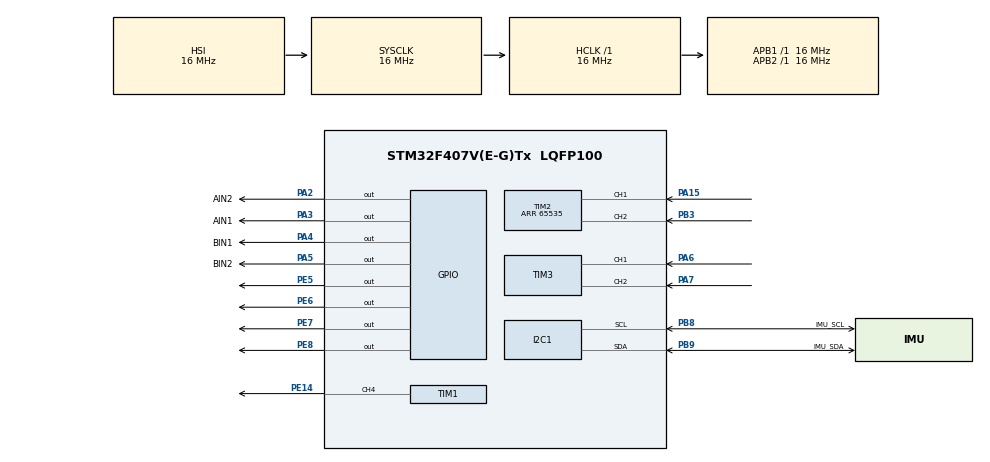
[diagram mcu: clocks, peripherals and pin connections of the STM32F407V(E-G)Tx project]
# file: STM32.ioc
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FREERTOS.Tasks01=defaultTask,24,128,StartDefaultTask,Default,NULL,Dynamic,NULL,NULL;MotorsDrive,40,2048,motorsMain,Default,NULL,Dynamic,NULL,NULL;IMU,40,512,IMUMain,Default,NULL,Dynamic,NULL,NULL;MotorEncoder,40,128,MotorEncoderMain,Default,NULL,Dynamic,NULL,NULL;Servo,24,256,ServoMain,Default,NULL,Dynamic,NULL,NULL
Mcu.Family=STM32F4
Mcu.Name=STM32F407V(E-G)Tx
Mcu.Package=LQFP100
NVIC.PriorityGroup=NVIC_PRIORITYGROUP_4
NVIC.TIM2_IRQn=true\:5\:0\:false\:false\:true\:true\:true\:true\:true
NVIC.TIM3_IRQn=true\:5\:0\:false\:false\:true\:true\:true\:true\:true
PA15.Signal=S_TIM2_CH1_ETR
PA2.GPIO_Label=AIN2
PA2.GPIO_Speed=GPIO_SPEED_FREQ_HIGH
PA2.Signal=GPIO_Output
PA3.GPIO_Label=AIN1
PA3.GPIO_Speed=GPIO_SPEED_FREQ_HIGH
PA3.Signal=GPIO_Output
PA4.GPIO_Label=BIN1
PA4.GPIO_Speed=GPIO_SPEED_FREQ_HIGH
PA4.Signal=GPIO_Output
PA5.GPIO_Label=BIN2
PA5.GPIO_Speed=GPIO_SPEED_FREQ_HIGH
PA5.Signal=GPIO_Output
PA6.Signal=S_TIM3_CH1
PA7.Signal=S_TIM3_CH2
PB3.Signal=S_TIM2_CH2
PB8.GPIO_Label=IMU_SCL
PB8.Mode=I2C
PB8.Signal=I2C1_SCL
PB9.GPIO_Label=IMU_SDA
PB9.Mode=I2C
PB9.Signal=I2C1_SDA
PC6.GPIO_Label=PWMA
PC6.Signal=S_TIM8_CH1
PC7.GPIO_Label=PWMB
PC7.Signal=S_TIM8_CH2
PE14.Signal=S_TIM1_CH4
PE5.Signal=GPIO_Output
PE6.Signal=GPIO_Output
PE7.Signal=GPIO_Output
PE8.Signal=GPIO_Output
ProjectManager.HeapSize=0x200
ProjectManager.StackSize=0x400
ProjectManager.TargetToolchain=STM32CubeIDE
RCC.AHBFreq_Value=16000000
RCC.APB1Freq_Value=16000000
RCC.APB2Freq_Value=16000000
RCC.CortexFreq_Value=16000000
RCC.HSE_VALUE=25000000
RCC.HSI_VALUE=16000000
RCC.LSE_VALUE=32768
RCC.SYSCLKFreq_VALUE=16000000
RCC.VCOOutputFreq_Value=192000000
SH.S_TIM1_CH4.0=TIM1_CH4,PWM Generation4 CH4
SH.S_TIM2_CH1_ETR.0=TIM2_CH1,Encoder_Interface
SH.S_TIM2_CH2.0=TIM2_CH2,Encoder_Interface
SH.S_TIM3_CH1.0=TIM3_CH1,Encoder_Interface
SH.S_TIM3_CH2.0=TIM3_CH2,Encoder_Interface
SH.S_TIM8_CH1.0=TIM8_CH1
SH.S_TIM8_CH2.0=TIM8_CH2
TIM1.AutoReloadPreload=TIM_AUTORELOAD_PRELOAD_ENABLE
TIM1.Channel-PWM\ Generation4\ CH4=TIM_CHANNEL_4
TIM1.Period=1000
TIM1.Prescaler=100
TIM2.EncoderMode=TIM_ENCODERMODE_TI12
TIM2.IC1Filter=10
TIM2.IC2Filter=10
TIM2.Period=65535
TIM3.EncoderMode=TIM_ENCODERMODE_TI12
TIM3.IC1Filter=10
TIM3.IC2Filter=10
TIM8.Channel-PWM\ Generation1\ No\ Output=TIM_CHANNEL_1
TIM8.Channel-PWM\ Generation2\ No\ Output=TIM_CHANNEL_2
TIM8.Period=7199
VP_FREERTOS_VS_CMSIS_V2.Mode=CMSIS_V2
VP_TIM1_VS_ClockSourceINT.Mode=Internal
VP_TIM8_VS_ClockSourceINT.Mode=Internal
VP_TIM8_VS_no_output1.Mode=PWM Generation1 No Output
VP_TIM8_VS_no_output2.Mode=PWM Generation2 No Output
board=custom

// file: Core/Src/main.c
/* USER CODE BEGIN Header */
/**
  ******************************************************************************
  * @file           : main.c
  * @brief          : Main program body
  ******************************************************************************
  * @attention
  *
  * Copyright (c) 2023 STMicroelectronics.
  * All rights reserved.
  *
  * This software is licensed under terms that can be found in the LICENSE file
  * in the root directory of this software component.
  * If no LICENSE file comes with this software, it is provided AS-IS.
  *
  ******************************************************************************
  */
/* USER CODE END Header */
#include "main.h"
#include "cmsis_os.h"

/* USER CODE BEGIN Includes */
#include "oled.h"
#include "motors.h"
#include "imu.h"
#include "servo.h"
/* USER CODE END Includes */

I2C_HandleTypeDef hi2c1;

TIM_HandleTypeDef htim1;
TIM_HandleTypeDef htim2;
TIM_HandleTypeDef htim3;
TIM_HandleTypeDef htim8;

/* Definitions for defaultTask */
osThreadId_t defaultTaskHandle;
const osThreadAttr_t defaultTask_attributes = {
  .name = "defaultTask",
  .stack_size = 128 * 4,
  .priority = (osPriority_t) osPriorityNormal,
};
/* Definitions for MotorsDrive */
osThreadId_t MotorsDriveHandle;
const osThreadAttr_t MotorsDrive_attributes = {
  .name = "MotorsDrive",
  .stack_size = 2048 * 4,
  .priority = (osPriority_t) osPriorityHigh,
};
/* Definitions for IMU */
osThreadId_t IMUHandle;
const osThreadAttr_t IMU_attributes = {
  .name = "IMU",
  .stack_size = 512 * 4,
  .priority = (osPriority_t) osPriorityHigh,
};
/* Definitions for MotorEncoder */
osThreadId_t MotorEncoderHandle;
const osThreadAttr_t MotorEncoder_attributes = {
  .name = "MotorEncoder",
  .stack_size = 128 * 4,
  .priority = (osPriority_t) osPriorityHigh,
};
/* Definitions for Servo */
osThreadId_t ServoHandle;
const osThreadAttr_t Servo_attributes = {
  .name = "Servo",
  .stack_size = 256 * 4,
  .priority = (osPriority_t) osPriorityNormal,
};

void SystemClock_Config(void);
static void MX_GPIO_Init(void);
static void MX_TIM8_Init(void);
static void MX_I2C1_Init(void);
static void MX_TIM2_Init(void);
static void MX_TIM3_Init(void);
static void MX_TIM1_Init(void);
void StartDefaultTask(void *argument);
void motorsMain(void *argument);
void IMUMain(void *argument);
void MotorEncoderMain(void *argument);
void ServoMain(void *argument);

int main(void)
{

  /* MCU Configuration--------------------------------------------------------*/

  /* Reset of all peripherals, Initializes the Flash interface and the Systick. */
  HAL_Init();

  /* Configure the system clock */
  SystemClock_Config();

  /* Initialize all configured peripherals */
  MX_GPIO_Init();
  MX_TIM8_Init();
  MX_I2C1_Init();
  MX_TIM2_Init();
  MX_TIM3_Init();
  MX_TIM1_Init();
  /* USER CODE BEGIN 2 */
  OLED_Init();
  /* USER CODE END 2 */

  /* Init scheduler */
  osKernelInitialize();

  /* Create the thread(s) */
  /* creation of defaultTask */
  defaultTaskHandle = osThreadNew(StartDefaultTask, NULL, &defaultTask_attributes);

  /* creation of MotorsDrive */
  MotorsDriveHandle = osThreadNew(motorsMain, NULL, &MotorsDrive_attributes);

  /* creation of IMU */
  IMUHandle = osThreadNew(IMUMain, NULL, &IMU_attributes);

  /* creation of MotorEncoder */
  MotorEncoderHandle = osThreadNew(MotorEncoderMain, NULL, &MotorEncoder_attributes);

  /* creation of Servo */
  ServoHandle = osThreadNew(ServoMain, NULL, &Servo_attributes);

  /* Start scheduler */
  osKernelStart();

  /* We should never get here as control is now taken by the scheduler */
  /* Infinite loop */
  while (1)
  {

  }
}

void SystemClock_Config(void)
{
  RCC_OscInitTypeDef RCC_OscInitStruct = {0};
  RCC_ClkInitTypeDef RCC_ClkInitStruct = {0};

  /** Configure the main internal regulator output voltage
  */
  __HAL_RCC_PWR_CLK_ENABLE();
  __HAL_PWR_VOLTAGESCALING_CONFIG(PWR_REGULATOR_VOLTAGE_SCALE1);

  /** Initializes the RCC Oscillators according to the specified parameters
  * in the RCC_OscInitTypeDef structure.
  */
  RCC_OscInitStruct.OscillatorType = RCC_OSCILLATORTYPE_HSI;
  RCC_OscInitStruct.HSIState = RCC_HSI_ON;
  RCC_OscInitStruct.HSICalibrationValue = RCC_HSICALIBRATION_DEFAULT;
  RCC_OscInitStruct.PLL.PLLState = RCC_PLL_NONE;
  if (HAL_RCC_OscConfig(&RCC_OscInitStruct) != HAL_OK)
  {
    Error_Handler();
  }

  /** Initializes the CPU, AHB and APB buses clocks
  */
  RCC_ClkInitStruct.ClockType = RCC_CLOCKTYPE_HCLK|RCC_CLOCKTYPE_SYSCLK
                              |RCC_CLOCKTYPE_PCLK1|RCC_CLOCKTYPE_PCLK2;
  RCC_ClkInitStruct.SYSCLKSource = RCC_SYSCLKSOURCE_HSI;
  RCC_ClkInitStruct.AHBCLKDivider = RCC_SYSCLK_DIV1;
  RCC_ClkInitStruct.APB1CLKDivider = RCC_HCLK_DIV1;
  RCC_ClkInitStruct.APB2CLKDivider = RCC_HCLK_DIV1;

  if (HAL_RCC_ClockConfig(&RCC_ClkInitStruct, FLASH_LATENCY_0) != HAL_OK)
  {
    Error_Handler();
  }
}

static void MX_I2C1_Init(void)
{

  hi2c1.Instance = I2C1;
  hi2c1.Init.ClockSpeed = 100000;
  hi2c1.Init.DutyCycle = I2C_DUTYCYCLE_2;
  hi2c1.Init.OwnAddress1 = 0;
  hi2c1.Init.AddressingMode = I2C_ADDRESSINGMODE_7BIT;
  hi2c1.Init.DualAddressMode = I2C_DUALADDRESS_DISABLE;
  hi2c1.Init.OwnAddress2 = 0;
  hi2c1.Init.GeneralCallMode = I2C_GENERALCALL_DISABLE;
  hi2c1.Init.NoStretchMode = I2C_NOSTRETCH_DISABLE;
  if (HAL_I2C_Init(&hi2c1) != HAL_OK)
  {
    Error_Handler();
  }

}

static void MX_TIM1_Init(void)
{

  TIM_ClockConfigTypeDef sClockSourceConfig = {0};
  TIM_MasterConfigTypeDef sMasterConfig = {0};
  TIM_OC_InitTypeDef sConfigOC = {0};
  TIM_BreakDeadTimeConfigTypeDef sBreakDeadTimeConfig = {0};

  htim1.Instance = TIM1;
  htim1.Init.Prescaler = 100;
  htim1.Init.CounterMode = TIM_COUNTERMODE_UP;
  htim1.Init.Period = 1000;
  htim1.Init.ClockDivision = TIM_CLOCKDIVISION_DIV1;
  htim1.Init.RepetitionCounter = 0;
  htim1.Init.AutoReloadPreload = TIM_AUTORELOAD_PRELOAD_ENABLE;
  if (HAL_TIM_Base_Init(&htim1) != HAL_OK)
  {
    Error_Handler();
  }
  sClockSourceConfig.ClockSource = TIM_CLOCKSOURCE_INTERNAL;
  if (HAL_TIM_ConfigClockSource(&htim1, &sClockSourceConfig) != HAL_OK)
  {
    Error_Handler();
  }
  if (HAL_TIM_PWM_Init(&htim1) != HAL_OK)
  {
    Error_Handler();
  }
  sMasterConfig.MasterOutputTrigger = TIM_TRGO_RESET;
  sMasterConfig.MasterSlaveMode = TIM_MASTERSLAVEMODE_DISABLE;
  if (HAL_TIMEx_MasterConfigSynchronization(&htim1, &sMasterConfig) != HAL_OK)
  {
    Error_Handler();
  }
  sConfigOC.OCMode = TIM_OCMODE_PWM1;
  sConfigOC.Pulse = 0;
  sConfigOC.OCPolarity = TIM_OCPOLARITY_HIGH;
  sConfigOC.OCFastMode = TIM_OCFAST_DISABLE;
  sConfigOC.OCIdleState = TIM_OCIDLESTATE_RESET;
  sConfigOC.OCNIdleState = TIM_OCNIDLESTATE_RESET;
  if (HAL_TIM_PWM_ConfigChannel(&htim1, &sConfigOC, TIM_CHANNEL_4) != HAL_OK)
  {
    Error_Handler();
  }
  sBreakDeadTimeConfig.OffStateRunMode = TIM_OSSR_DISABLE;
  sBreakDeadTimeConfig.OffStateIDLEMode = TIM_OSSI_DISABLE;
  sBreakDeadTimeConfig.LockLevel = TIM_LOCKLEVEL_OFF;
  sBreakDeadTimeConfig.DeadTime = 0;
  sBreakDeadTimeConfig.BreakState = TIM_BREAK_DISABLE;
  sBreakDeadTimeConfig.BreakPolarity = TIM_BREAKPOLARITY_HIGH;
  sBreakDeadTimeConfig.AutomaticOutput = TIM_AUTOMATICOUTPUT_DISABLE;
  if (HAL_TIMEx_ConfigBreakDeadTime(&htim1, &sBreakDeadTimeConfig) != HAL_OK)
  {
    Error_Handler();
  }
  HAL_TIM_MspPostInit(&htim1);

}

static void MX_TIM2_Init(void)
{

  TIM_Encoder_InitTypeDef sConfig = {0};
  TIM_MasterConfigTypeDef sMasterConfig = {0};

  htim2.Instance = TIM2;
  htim2.Init.Prescaler = 0;
  htim2.Init.CounterMode = TIM_COUNTERMODE_UP;
  htim2.Init.Period = 65535;
  htim2.Init.ClockDivision = TIM_CLOCKDIVISION_DIV1;
  htim2.Init.AutoReloadPreload = TIM_AUTORELOAD_PRELOAD_DISABLE;
  sConfig.EncoderMode = TIM_ENCODERMODE_TI12;
  sConfig.IC1Polarity = TIM_ICPOLARITY_RISING;
  sConfig.IC1Selection = TIM_ICSELECTION_DIRECTTI;
  sConfig.IC1Prescaler = TIM_ICPSC_DIV1;
  sConfig.IC1Filter = 10;
  sConfig.IC2Polarity = TIM_ICPOLARITY_RISING;
  sConfig.IC2Selection = TIM_ICSELECTION_DIRECTTI;
  sConfig.IC2Prescaler = TIM_ICPSC_DIV1;
  sConfig.IC2Filter = 10;
  if (HAL_TIM_Encoder_Init(&htim2, &sConfig) != HAL_OK)
  {
    Error_Handler();
  }
  sMasterConfig.MasterOutputTrigger = TIM_TRGO_RESET;
  sMasterConfig.MasterSlaveMode = TIM_MASTERSLAVEMODE_DISABLE;
  if (HAL_TIMEx_MasterConfigSynchronization(&htim2, &sMasterConfig) != HAL_OK)
  {
    Error_Handler();
  }

}

static void MX_TIM3_Init(void)
{

  TIM_Encoder_InitTypeDef sConfig = {0};
  TIM_MasterConfigTypeDef sMasterConfig = {0};

  htim3.Instance = TIM3;
  htim3.Init.Prescaler = 0;
  htim3.Init.CounterMode = TIM_COUNTERMODE_UP;
  htim3.Init.Period = 65535;
  htim3.Init.ClockDivision = TIM_CLOCKDIVISION_DIV1;
  htim3.Init.AutoReloadPreload = TIM_AUTORELOAD_PRELOAD_DISABLE;
  sConfig.EncoderMode = TIM_ENCODERMODE_TI12;
  sConfig.IC1Polarity = TIM_ICPOLARITY_RISING;
  sConfig.IC1Selection = TIM_ICSELECTION_DIRECTTI;
  sConfig.IC1Prescaler = TIM_ICPSC_DIV1;
  sConfig.IC1Filter = 10;
  sConfig.IC2Polarity = TIM_ICPOLARITY_RISING;
  sConfig.IC2Selection = TIM_ICSELECTION_DIRECTTI;
  sConfig.IC2Prescaler = TIM_ICPSC_DIV1;
  sConfig.IC2Filter = 10;
  if (HAL_TIM_Encoder_Init(&htim3, &sConfig) != HAL_OK)
  {
    Error_Handler();
  }
  sMasterConfig.MasterOutputTrigger = TIM_TRGO_RESET;
  sMasterConfig.MasterSlaveMode = TIM_MASTERSLAVEMODE_DISABLE;
  if (HAL_TIMEx_MasterConfigSynchronization(&htim3, &sMasterConfig) != HAL_OK)
  {
    Error_Handler();
  }

}

static void MX_TIM8_Init(void)
{

  TIM_ClockConfigTypeDef sClockSourceConfig = {0};
  TIM_MasterConfigTypeDef sMasterConfig = {0};
  TIM_OC_InitTypeDef sConfigOC = {0};
  TIM_BreakDeadTimeConfigTypeDef sBreakDeadTimeConfig = {0};

  htim8.Instance = TIM8;
  htim8.Init.Prescaler = 0;
  htim8.Init.CounterMode = TIM_COUNTERMODE_UP;
  htim8.Init.Period = 7199;
  htim8.Init.ClockDivision = TIM_CLOCKDIVISION_DIV1;
  htim8.Init.RepetitionCounter = 0;
  htim8.Init.AutoReloadPreload = TIM_AUTORELOAD_PRELOAD_DISABLE;
  if (HAL_TIM_Base_Init(&htim8) != HAL_OK)
  {
    Error_Handler();
  }
  sClockSourceConfig.ClockSource = TIM_CLOCKSOURCE_INTERNAL;
  if (HAL_TIM_ConfigClockSource(&htim8, &sClockSourceConfig) != HAL_OK)
  {
    Error_Handler();
  }
  if (HAL_TIM_PWM_Init(&htim8) != HAL_OK)
  {
    Error_Handler();
  }
  sMasterConfig.MasterOutputTrigger = TIM_TRGO_RESET;
  sMasterConfig.MasterSlaveMode = TIM_MASTERSLAVEMODE_DISABLE;
  if (HAL_TIMEx_MasterConfigSynchronization(&htim8, &sMasterConfig) != HAL_OK)
  {
    Error_Handler();
  }
  sConfigOC.OCMode = TIM_OCMODE_PWM1;
  sConfigOC.Pulse = 0;
  sConfigOC.OCPolarity = TIM_OCPOLARITY_HIGH;
  sConfigOC.OCNPolarity = TIM_OCNPOLARITY_HIGH;
  sConfigOC.OCFastMode = TIM_OCFAST_DISABLE;
  sConfigOC.OCIdleState = TIM_OCIDLESTATE_RESET;
  sConfigOC.OCNIdleState = TIM_OCNIDLESTATE_RESET;
  if (HAL_TIM_PWM_ConfigChannel(&htim8, &sConfigOC, TIM_CHANNEL_1) != HAL_OK)
  {
    Error_Handler();
  }
  if (HAL_TIM_PWM_ConfigChannel(&htim8, &sConfigOC, TIM_CHANNEL_2) != HAL_OK)
  {
    Error_Handler();
  }
  sBreakDeadTimeConfig.OffStateRunMode = TIM_OSSR_DISABLE;
  sBreakDeadTimeConfig.OffStateIDLEMode = TIM_OSSI_DISABLE;
  sBreakDeadTimeConfig.LockLevel = TIM_LOCKLEVEL_OFF;
  sBreakDeadTimeConfig.DeadTime = 0;
  sBreakDeadTimeConfig.BreakState = TIM_BREAK_DISABLE;
  sBreakDeadTimeConfig.BreakPolarity = TIM_BREAKPOLARITY_HIGH;
  sBreakDeadTimeConfig.AutomaticOutput = TIM_AUTOMATICOUTPUT_DISABLE;
  if (HAL_TIMEx_ConfigBreakDeadTime(&htim8, &sBreakDeadTimeConfig) != HAL_OK)
  {
    Error_Handler();
  }

}

static void MX_GPIO_Init(void)
{
  GPIO_InitTypeDef GPIO_InitStruct = {0};

  /* GPIO Ports Clock Enable */
  __HAL_RCC_GPIOE_CLK_ENABLE();
  __HAL_RCC_GPIOA_CLK_ENABLE();
  __HAL_RCC_GPIOC_CLK_ENABLE();
  __HAL_RCC_GPIOB_CLK_ENABLE();

  /*Configure GPIO pin Output Level */
  HAL_GPIO_WritePin(GPIOE, GPIO_PIN_5|GPIO_PIN_6|GPIO_PIN_7|GPIO_PIN_8, GPIO_PIN_RESET);

  /*Configure GPIO pin Output Level */
  HAL_GPIO_WritePin(GPIOA, AIN2_Pin|AIN1_Pin|BIN1_Pin|BIN2_Pin, GPIO_PIN_RESET);

  /*Configure GPIO pins : PE5 PE6 PE7 PE8 */
  GPIO_InitStruct.Pin = GPIO_PIN_5|GPIO_PIN_6|GPIO_PIN_7|GPIO_PIN_8;
  GPIO_InitStruct.Mode = GPIO_MODE_OUTPUT_PP;
  GPIO_InitStruct.Pull = GPIO_NOPULL;
  GPIO_InitStruct.Speed = GPIO_SPEED_FREQ_LOW;
  HAL_GPIO_Init(GPIOE, &GPIO_InitStruct);

  /*Configure GPIO pins : AIN2_Pin AIN1_Pin BIN1_Pin BIN2_Pin */
  GPIO_InitStruct.Pin = AIN2_Pin|AIN1_Pin|BIN1_Pin|BIN2_Pin;
  GPIO_InitStruct.Mode = GPIO_MODE_OUTPUT_PP;
  GPIO_InitStruct.Pull = GPIO_NOPULL;
  GPIO_InitStruct.Speed = GPIO_SPEED_FREQ_HIGH;
  HAL_GPIO_Init(GPIOA, &GPIO_InitStruct);

}

void StartDefaultTask(void *argument)
{
	for(;;)
	{
		osDelay(1);
	}
}

void motorsMain(void *argument)
{
  /* USER CODE BEGIN motorsMain */
	mtr_init(&htim8, &htim2, &htim3);
	char oledbuf[16];
  /* Infinite loop */
  for(;;) {
	  mtr_mov_deg(720, 720);
	  sprintf(oledbuf, "Systick = %d", HAL_GetTick());
	  OLED_ShowString(15, 25, &oledbuf[0]);
	  OLED_Refresh_Gram();
	  osDelay(2000);
  }
  /* USER CODE END motorsMain */
}

void IMUMain(void *argument)
{
  /* USER CODE BEGIN IMUMain */
	AccelGyroResult accel;
	char oledbuf[16];

	uint8_t init_err = imu_init(&hi2c1);
	while (init_err != 0) {
		sprintf(oledbuf, "Error = %d", init_err);
		OLED_ShowString(15, 25, &oledbuf[0]);
		OLED_Refresh_Gram();
		init_err = imu_init(&hi2c1);
	}
  /* Infinite loop */

	for(;;)
	{
		read_accel(&accel);

		osDelay(50);
	}
  /* USER CODE END IMUMain */
}

void MotorEncoderMain(void *argument)
{
  for(;;)
  {
    osDelay(1);
  }
}

void ServoMain(void *argument)
{
  /* USER CODE BEGIN ServoMain */
	// turn it to straight forward
	servoInit();
  /* Infinite loop */
	// fd
	for(;;)
  {
		//turn(direction);
    osDelay(1);
  }
  /* USER CODE END ServoMain */
}

void Error_Handler(void)
{
  __disable_irq();
  while (1)
  {
  }
}
